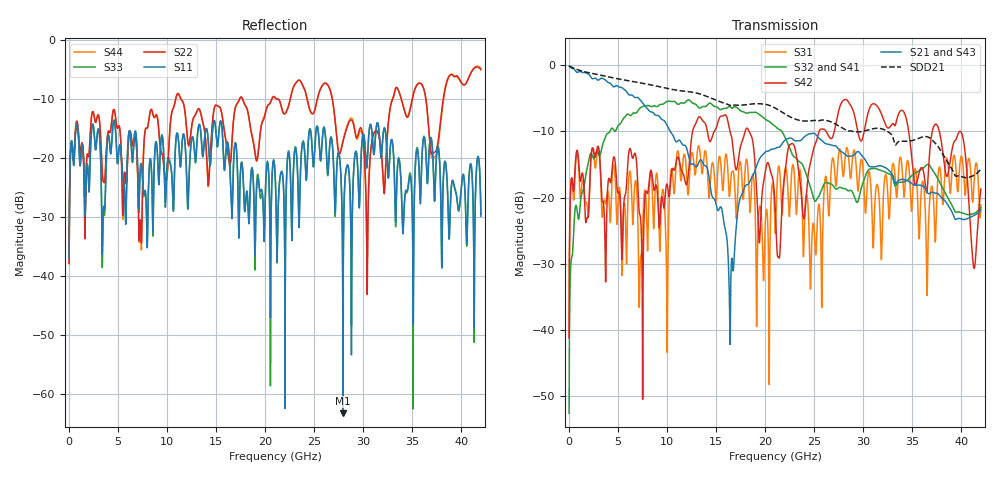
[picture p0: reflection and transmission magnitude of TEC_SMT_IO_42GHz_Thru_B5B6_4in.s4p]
!! CHANNEL DESCRIPTION: Next Generation 28Gbps High Density SMT I/O Connector
!!  with 4" 5-6-5 Megatron 6 Stripline trace on host side and 1.25" 7-5-7 Megtron 6 Microstrip trace on plug side at 14GHz
!! HOST PCB DESCRIPTION: PCB thickness 2.86 mm, Nelco 4000-13SI (Dk 3.32, Df 0.010)
!!  23 Layer Board, 12 GND planes, 2 Layer route-out on Layers 10,12, 8 mil stub on vias
!!  Pairs on following layers
!!  Layer 12 - B5B6
!! CONNECTOR DESCRIPTION:  Next Generation 28Gbps High Density SMT I/O Connector
!! PLUG-IN CARD DESCRIPTION:  PCB thickness 1mm thick, Nelco 4000-13SI (Dk 3.32, Df 0.010)
!!  6 Layer Board, 4 GND planes, 0.35 x 1.4mm mating pads
!!  Micro-strip diff traces referenced to GND plane 3mils down, 2nd GND plane 15mils from top of board
!!  PCB GND planes are symmetric
!! MODEL DESCRIPTION: TE Connectivity S-parameter model produced from Macro-model
!! MODEL DATE: 9/25/2014 CR1a_GC1i, VR6&12_4
!! MODEL STATUS: Developmental
!! MODEL GEOMETRY: 2 Rows - Rows A, B. 3 pairs in each row, 6 total pairs
!! MODEL FREQUENCY RANGE: DC to 42 GHz in 10 MHz frequency steps
!! MODEL EDGE RATE LIMITATION: 11.90 ps (Using conservative 0.5/Fmax rule of thumb)
!! TIME-DOMAIN TRANSFORM CAUTIONS:
!! 1.) Do not simulate transient edge rates faster than the number listed above.  Edge
!!  rates faster than this number contain significant spectral content at frequencies
!!  above the model's highest frequency.
!! 2.) Even when simulating edge rates that are slower than the number listed above, be
!!  aware that the best time resolution possible with a direct iFFT is (1 / 2Fmax).
!!  As a result, time resolution is typically not adequate for most time-domain
!!  simulations unless tricks such as frequency-domain zero-padding and windowing are
!!  used to minimize leakage and aliasing.
!! 3.) Because the model has a uniform frequency step, a direct iFFT will result in an
!!  impulse that that has a time length given by either (1 / Fstep) or (1 / 2Fstep),
!!  depending on the transform being used.  Care has been taken in selecting the
!!  frequency step to ensure a settled impulse response for the model.  Therefore,
!!  convolution with the model's impulse response should present no issues.  However,
!!  if directly concatenating s-parameter models in the frequency domain a user must
!!  either interpolate necessary interim frequencies or complete impulse response
!!  zero-padding.  Impulse response zero-padding is more difficult, but more accurate.
!! PORT DEFINITIONS:
!! Port  1  ----->  Host, Bot Row  B5  B5  Module, Top Row  <-----  Port  2
!! Port  3  ----->  Host, Bot Row  B6  B6  Module, Top Row  <-----  Port  4
# Hz S MA R 50
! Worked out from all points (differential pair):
!   4200 points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, 10 MHz to 42 GHz, reference 50 ohm
!   strongest paths, dB at 10 MHz, 10.51 GHz, 21.01 GHz, 31.51 GHz, 42 GHz:
!     S21: -0.1, -10.4, -12.6, -15.2, -21.8
!     S42: -41.1, -15.7, -21.2, -6.3, -18.7
!     S43: -0.1, -10.4, -12.6, -15.2, -21.8
!     S32: -52.6, -5.5, -9.2, -15.7, -21.5
!     S41: -52.6, -5.5, -9.1, -15.7, -21.4
!     S31: -41.2, -15.9, -24.8, -18.4, -21.1
!   taken as a pair (ports 1,3 in; 2,4 out), SDD21 dB: -0.1, -3.6, -6.4, -9.5, -15.6
!   lowest |S11| = -63.2 dB at 27.93 GHz (marker M1), VSWR 1.00, Z = 49.9 + j0.0392 ohm
!   |S11| at or under -10 dB: start of sweep to end of sweep
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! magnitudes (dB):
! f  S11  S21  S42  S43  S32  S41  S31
! 10 MHz  -36.9  -0.1  -41.1  -0.1  -52.6  -52.6  -41.2
! 680 MHz  -15.3  -0.9  -14.1  -0.9  -21.2  -21.2  -14.8
! 5.88 GHz  -24.0  -4.0  -17.6  -4.0  -7.5  -7.4  -29.6
! 16.49 GHz  -25.4  -33.4  -10.4  -31.3  -6.3  -6.3  -17.3
! 21.36 GHz  -27.1  -12.4  -29.0  -12.5  -9.7  -9.7  -15.3
! 27.93 GHz  -63.2  -13.2  -5.4  -13.3  -18.6  -18.6  -16.6
! 42 GHz  -29.8  -21.8  -18.7  -21.8  -21.5  -21.4  -21.1
